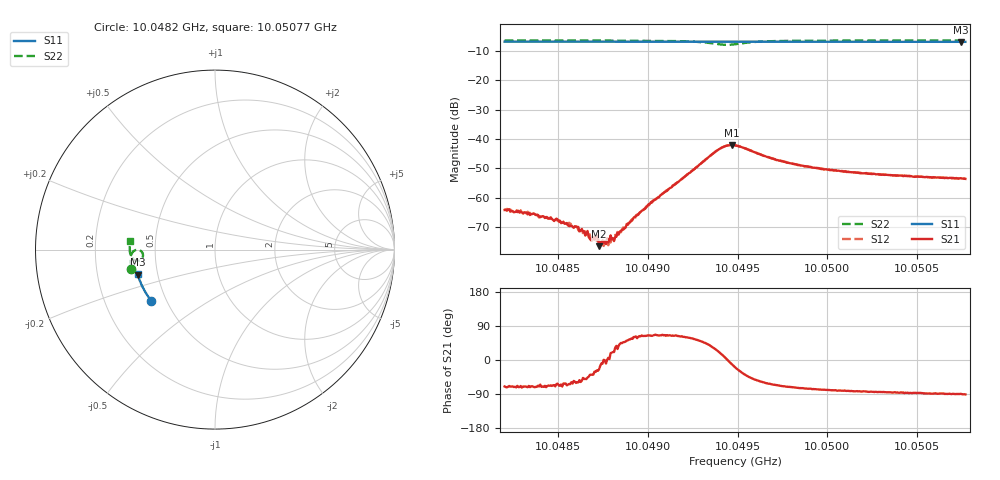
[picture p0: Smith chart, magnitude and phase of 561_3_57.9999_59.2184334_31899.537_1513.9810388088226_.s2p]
#  HZ  S  RI  R  50.00
! Rohde & Schwarz Vector Network Analyzer
! Rohde-Schwarz,ZNB20-2Port,1311601062101988,3.16
! Created: UTC 3/21/2024, 1:15:25 AM
! freq[Hz]  re:S11  im:S11  re:S21  im:S21  re:S12  im:S12  re:S22  im:S22
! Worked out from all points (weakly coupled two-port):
!   401 points, 10.0482 GHz to 10.05077 GHz, reference 50 ohm
!   highest |S21| = -42.07 dB at 10.04947 GHz (marker M1); lowest = -76.5 dB at 10.04873 GHz (marker M2)
!   lowest |S11| = -6.9 dB at 10.05074 GHz (marker M3), VSWR 2.65, Z = 19.3 - j6.75 ohm
!   |S11| at or under -10 dB: nowhere
!   |S22| runs from -7.9 to -6.4 dB; largest |S21 - S12| = 0.00056
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1.00482e10  -0.3551 -0.2871  0.000212 -0.00058  0.000262 -0.000561  -0.4657 -0.1056
1.0048425e10  -0.3639 -0.2752  0.000168 -0.000417  0.000204 -0.000408  -0.4683 -0.0896
1.0048495e10  -0.3666 -0.2714  0.000199 -0.000378  0.000199 -0.000361  -0.469 -0.0846
1.0048572e10  -0.3694 -0.2672  0.000176 -0.000288  0.000178 -0.000307  -0.4698 -0.0786
1.004863e10  -0.3716 -0.264  0.000169 -0.00024  0.000165 -0.000212  -0.4701 -0.0742
1.0048656e10  -0.3725 -0.2625  0.000158 -0.000191  0.000142 -0.000188  -0.4704 -0.0723
1.0048682e10  -0.3733 -0.2611  0.000148 -0.000117  0.00015 -0.000131  -0.4706 -0.0703
1.0048707e10  -0.3744 -0.2598  0.000185 -0.000114  0.000188 -7.05e-05  -0.4709 -0.0681
1.0048727e10  -0.3749 -0.2587  0.000136 -6.19e-05  0.000167 -6.84e-05  -0.4708 -0.0666
1.0048739e10  -0.3754 -0.2581  0.000173 -2.76e-05  0.000189 -5.95e-05  -0.4709 -0.0657
1.0048778e10  -0.3769 -0.2558  0.000172 1.73e-05  0.000146 5.24e-05  -0.471 -0.0625
1.0048823e10  -0.3784 -0.2532  0.000172 0.000131  0.000189 0.00012  -0.471 -0.0587
1.0048926e10  -0.382 -0.2476  0.000232 0.00041  0.000185 0.000389  -0.4707 -0.0494
1.0049061e10  -0.3867 -0.2398  0.000435 0.000916  0.00037 0.000981  -0.4688 -0.0355
1.0049375e10  -0.3961 -0.2215  0.00532 0.00291  0.00516 0.00326  -0.4199 -0.0031
1.0049465e10  -0.3984 -0.2168  0.00775 -0.00146  0.00782 -0.000931  -0.4028 -0.0425
1.0049485e10  -0.3991 -0.2157  0.00733 -0.00254  0.00757 -0.00203  -0.4081 -0.0514
1.0049716e10  -0.4061 -0.2024  0.00175 -0.00401  0.00203 -0.00394  -0.4646 -0.0435
1.0049915e10  -0.4117 -0.1904  0.000735 -0.00317  0.000996 -0.00316  -0.4728 -0.0205
1.0050345e10  -0.4222 -0.1641  0.000211 -0.00242  0.000347 -0.00241  -0.4754 0.0157
1.0050744e10  -0.4302 -0.1394  2.69e-05 -0.00215  0.000153 -0.00214  -0.4737 0.0447
1.0050769e10  -0.4308 -0.1378  -3.24e-05 -0.00209  0.000115 -0.00212  -0.4735 0.0465
